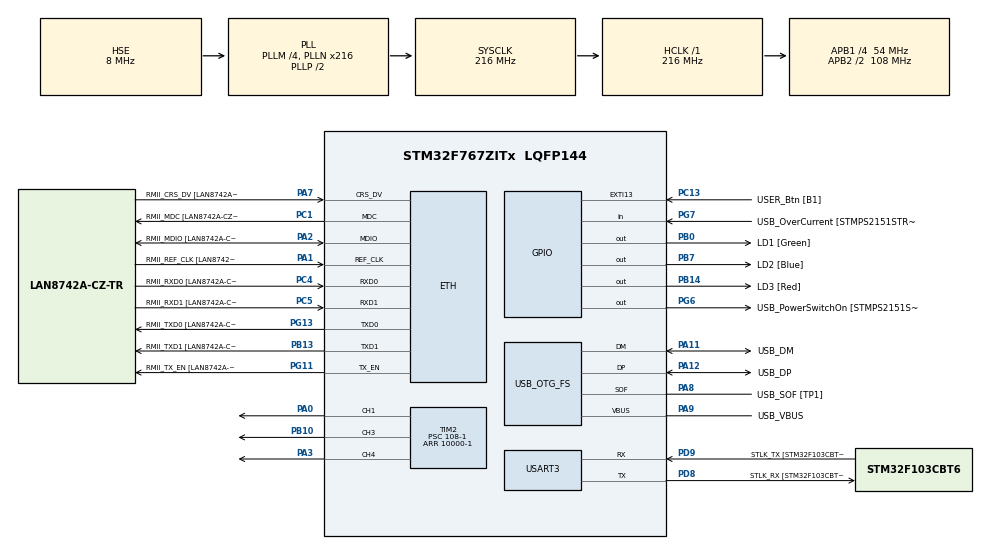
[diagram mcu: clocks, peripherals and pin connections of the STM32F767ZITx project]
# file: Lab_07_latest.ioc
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ETH.MediaInterface=HAL_ETH_RMII_MODE
ETH.PHY_Name=LAN8742A_PHY_ADDRESS
ETH.PHY_Value=0
ETH.PhyAddress=0
Mcu.Family=STM32F7
Mcu.Name=STM32F767ZITx
Mcu.Package=LQFP144
NVIC.PriorityGroup=NVIC_PRIORITYGROUP_4
PA0/WKUP.GPIO_Speed=GPIO_SPEED_FREQ_VERY_HIGH
PA0/WKUP.Signal=S_TIM2_CH1_ETR
PA1.GPIO_Label=RMII_REF_CLK [LAN8742A-CZ-TR_REFCLK0]
PA1.Mode=RMII
PA1.Signal=ETH_REF_CLK
PA10.GPIO_Label=USB_ID
PA10.Signal=USB_OTG_FS_ID
PA11.GPIO_Label=USB_DM
PA11.Mode=Device_Only
PA11.Signal=USB_OTG_FS_DM
PA12.GPIO_Label=USB_DP
PA12.Mode=Device_Only
PA12.Signal=USB_OTG_FS_DP
PA13.GPIO_Label=TMS
PA13.Mode=Serial_Wire
PA13.Signal=SYS_JTMS-SWDIO
PA14.GPIO_Label=TCK
PA14.Mode=Serial_Wire
PA14.Signal=SYS_JTCK-SWCLK
PA2.GPIO_Label=RMII_MDIO [LAN8742A-CZ-TR_MDIO]
PA2.Mode=RMII
PA2.Signal=ETH_MDIO
PA3.GPIO_Speed=GPIO_SPEED_FREQ_VERY_HIGH
PA3.Signal=S_TIM2_CH4
PA7.GPIO_Label=RMII_CRS_DV [LAN8742A-CZ-TR_CRS_DV]
PA7.Mode=RMII
PA7.Signal=ETH_CRS_DV
PA8.GPIO_Label=USB_SOF [TP1]
PA8.Mode=Activate_SOF_FS
PA8.Signal=USB_OTG_FS_SOF
PA9.GPIO_Label=USB_VBUS
PA9.Mode=Activate_VBUS
PA9.Signal=USB_OTG_FS_VBUS
PB0.GPIO_Label=LD1 [Green]
PB0.Signal=GPIO_Output
PB10.GPIO_Speed=GPIO_SPEED_FREQ_VERY_HIGH
PB10.Signal=S_TIM2_CH3
PB13.GPIO_Label=RMII_TXD1 [LAN8742A-CZ-TR_TXD1]
PB13.Mode=RMII
PB13.Signal=ETH_TXD1
PB14.GPIO_Label=LD3 [Red]
PB14.Signal=GPIO_Output
PB3.GPIO_Label=SWO
PB3.Signal=SYS_JTDO-SWO
PB7.GPIO_Label=LD2 [Blue]
PB7.Signal=GPIO_Output
PC1.GPIO_Label=RMII_MDC [LAN8742A-CZ-TR_MDC]
PC1.Mode=RMII
PC1.Signal=ETH_MDC
PC13.GPIO_Label=USER_Btn [B1]
PC13.Signal=GPXTI13
PC14/OSC32_IN.Mode=LSE-External-Oscillator
PC14/OSC32_IN.Signal=RCC_OSC32_IN
PC15/OSC32_OUT.Mode=LSE-External-Oscillator
PC15/OSC32_OUT.Signal=RCC_OSC32_OUT
PC4.GPIO_Label=RMII_RXD0 [LAN8742A-CZ-TR_RXD0]
PC4.Mode=RMII
PC4.Signal=ETH_RXD0
PC5.GPIO_Label=RMII_RXD1 [LAN8742A-CZ-TR_RXD1]
PC5.Mode=RMII
PC5.Signal=ETH_RXD1
PD8.GPIO_Label=STLK_RX [STM32F103CBT6_PA3]
PD8.Mode=Asynchronous
PD8.Signal=USART3_TX
PD9.GPIO_Label=STLK_TX [STM32F103CBT6_PA2]
PD9.Mode=Asynchronous
PD9.Signal=USART3_RX
PG11.GPIO_Label=RMII_TX_EN [LAN8742A-CZ-TR_TXEN]
PG11.Mode=RMII
PG11.Signal=ETH_TX_EN
PG13.GPIO_Label=RMII_TXD0 [LAN8742A-CZ-TR_TXD0]
PG13.Mode=RMII
PG13.Signal=ETH_TXD0
PG6.GPIO_Label=USB_PowerSwitchOn [STMPS2151STR_EN]
PG6.Signal=GPIO_Output
PG7.GPIO_Label=USB_OverCurrent [STMPS2151STR_FAULT]
PG7.Signal=GPIO_Input
PH0/OSC_IN.GPIO_Label=MCO [STM32F103CBT6_PA8]
PH0/OSC_IN.Mode=HSE-External-Clock-Source
PH0/OSC_IN.Signal=RCC_OSC_IN
PH1/OSC_OUT.Mode=HSE-External-Clock-Source
PH1/OSC_OUT.Signal=RCC_OSC_OUT
ProjectManager.HeapSize=0x200
ProjectManager.StackSize=0x400
ProjectManager.TargetToolchain=STM32CubeIDE
RCC.48MHZClocksFreq_Value=24000000
RCC.AHBFreq_Value=216000000
RCC.APB1CLKDivider=RCC_HCLK_DIV4
RCC.APB1Freq_Value=54000000
RCC.APB1TimFreq_Value=108000000
RCC.APB2CLKDivider=RCC_HCLK_DIV2
RCC.APB2Freq_Value=108000000
RCC.APB2TimFreq_Value=216000000
RCC.CortexFreq_Value=216000000
RCC.HCLKFreq_Value=216000000
RCC.HSE_VALUE=8000000
RCC.HSI_VALUE=16000000
RCC.PLLM=4
RCC.PLLMUL=RCC_PLL_MUL9
RCC.PLLN=216
RCC.PLLQ=9
RCC.PRESCALERUSB=RCC_USBCLKSOURCE_PLL_DIV1_5
RCC.SYSCLKFreq_VALUE=216000000
RCC.SYSCLKSource=RCC_SYSCLKSOURCE_PLLCLK
RCC.SYSCLKSourceVirtual=RCC_SYSCLKSOURCE_PLLCLK
RCC.USBFreq_Value=48000000
RCC.VCOOutputFreq_Value=432000000
SH.S_TIM2_CH1_ETR.0=TIM2_CH1,PWM Generation1 CH1
SH.S_TIM2_CH3.0=TIM2_CH3,PWM Generation3 CH3
SH.S_TIM2_CH4.0=TIM2_CH4,PWM Generation4 CH4
TIM2.Channel-PWM\ Generation1\ CH1=TIM_CHANNEL_1
TIM2.Channel-PWM\ Generation3\ CH3=TIM_CHANNEL_3
TIM2.Channel-PWM\ Generation4\ CH4=TIM_CHANNEL_4
TIM2.Period=10000-1
TIM2.Prescaler=108-1
TIM2.Pulse-PWM\ Generation1\ CH1=0
TIM2.Pulse-PWM\ Generation3\ CH3=10000/4-1
TIM2.Pulse-PWM\ Generation4\ CH4=0
USART3.VirtualMode-Asynchronous=VM_ASYNC
USB_OTG_FS.VirtualMode=Device_Only
VP_TIM2_VS_ClockSourceINT.Mode=Internal
board=NUCLEO-F767ZI

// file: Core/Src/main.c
/* USER CODE BEGIN Header */
/**
  ******************************************************************************
  * @file           : main.c
  * @brief          : Main program body
  ******************************************************************************
  * @attention
  *
  * Copyright (c) 2025 STMicroelectronics.
  * All rights reserved.
  *
  * This software is licensed under terms that can be found in the LICENSE file
  * in the root directory of this software component.
  * If no LICENSE file comes with this software, it is provided AS-IS.
  *
  ******************************************************************************
  */
/* USER CODE END Header */
#include "main.h"
#include "eth.h"
#include "tim.h"
#include "usart.h"
#include "usb_otg.h"
#include "gpio.h"

/* USER CODE BEGIN Includes */
#include "string.h"
#include "stdio.h"
/* USER CODE END Includes */

/* USER CODE BEGIN PV */
//uint8_t pwm;
uint8_t duty_red = 0;
uint8_t duty_green = 0;
uint8_t duty_blue = 0;

uint32_t pw_red = 0;
uint32_t pw_green = 0;
uint32_t pw_blue = 0;
char rx;

void update_pwm(void) {
    uint32_t ARR = __HAL_TIM_GET_AUTORELOAD(&htim2);

    __HAL_TIM_SET_COMPARE(&htim2, TIM_CHANNEL_1, (duty_red * ARR) / 100);
    __HAL_TIM_SET_COMPARE(&htim2, TIM_CHANNEL_3, (duty_green * ARR) / 100);
    __HAL_TIM_SET_COMPARE(&htim2, TIM_CHANNEL_4, (duty_blue * ARR) / 100);

    char msg[64];
    sprintf(msg, "Duty Cycle\r\nR : %d%% \r\nG : %d%% \r\nB : %d%% \r\n\n", duty_red, duty_green, duty_blue);
    HAL_UART_Transmit(&huart3, (uint8_t*)msg, strlen(msg), HAL_MAX_DELAY);
}
/* USER CODE END PV */

void SystemClock_Config(void);
/* USER CODE BEGIN PFP */
//void check_color(char color) {
//	if (color == 'r') {
//	  duty_red += 20;
//	  if (duty_red > 100) duty_red = 0;
//	}
//	else if (color == 'g'){
//	  duty_green += 20;
//	  if (duty_green > 100) duty_green = 0;
//	}
//	else if (color == 'b') {
//	  duty_blue += 20;
//	  if (duty_blue > 100) duty_blue = 0;
//	}
//}
/* USER CODE END PFP */

int main(void)
{

  /* MCU Configuration--------------------------------------------------------*/

  /* Reset of all peripherals, Initializes the Flash interface and the Systick. */
  HAL_Init();

  /* Configure the system clock */
  SystemClock_Config();

  /* Initialize all configured peripherals */
  MX_GPIO_Init();
  MX_ETH_Init();
  MX_USART3_UART_Init();
  MX_USB_OTG_FS_PCD_Init();
  MX_TIM2_Init();
  /* USER CODE BEGIN 2 */
  HAL_TIM_PWM_Start(&htim2, TIM_CHANNEL_1);
  HAL_TIM_PWM_Start(&htim2, TIM_CHANNEL_3);
  HAL_TIM_PWM_Start(&htim2, TIM_CHANNEL_4);
  update_pwm();

  /* USER CODE END 2 */

  /* Infinite loop */
  while (1)
  {

    /* USER CODE BEGIN 3 */

	    if(HAL_UART_Receive(&huart3, (uint8_t*)&rx, 1, 10) == HAL_OK)
	    {
	    	if(rx == 'r') { duty_red += 20; if(duty_red > 100) duty_red = 0; }
	    	if(rx == 'g') { duty_green += 20; if(duty_green > 100) duty_green = 0; }
	    	if(rx == 'b') { duty_blue += 20; if(duty_blue > 100) duty_blue = 0; }
	        update_pwm();
	    }

	    pw_red   = (GPIOA->IDR & GPIO_PIN_0);
	    pw_green = ((GPIOB->IDR & GPIO_PIN_10)  >> 10) ;
	    pw_blue  = ((GPIOA->IDR & GPIO_PIN_3) >> 3);
	    HAL_Delay(100);
  }
  /* USER CODE END 3 */
}

void SystemClock_Config(void)
{
  RCC_OscInitTypeDef RCC_OscInitStruct = {0};
  RCC_ClkInitTypeDef RCC_ClkInitStruct = {0};

  /** Configure LSE Drive Capability
  */
  HAL_PWR_EnableBkUpAccess();

  /** Configure the main internal regulator output voltage
  */
  __HAL_RCC_PWR_CLK_ENABLE();
  __HAL_PWR_VOLTAGESCALING_CONFIG(PWR_REGULATOR_VOLTAGE_SCALE1);

  /** Initializes the RCC Oscillators according to the specified parameters
  * in the RCC_OscInitTypeDef structure.
  */
  RCC_OscInitStruct.OscillatorType = RCC_OSCILLATORTYPE_HSE;
  RCC_OscInitStruct.HSEState = RCC_HSE_BYPASS;
  RCC_OscInitStruct.PLL.PLLState = RCC_PLL_ON;
  RCC_OscInitStruct.PLL.PLLSource = RCC_PLLSOURCE_HSE;
  RCC_OscInitStruct.PLL.PLLM = 4;
  RCC_OscInitStruct.PLL.PLLN = 216;
  RCC_OscInitStruct.PLL.PLLP = RCC_PLLP_DIV2;
  RCC_OscInitStruct.PLL.PLLQ = 9;
  RCC_OscInitStruct.PLL.PLLR = 2;
  if (HAL_RCC_OscConfig(&RCC_OscInitStruct) != HAL_OK)
  {
    Error_Handler();
  }

  /** Activate the Over-Drive mode
  */
  if (HAL_PWREx_EnableOverDrive() != HAL_OK)
  {
    Error_Handler();
  }

  /** Initializes the CPU, AHB and APB buses clocks
  */
  RCC_ClkInitStruct.ClockType = RCC_CLOCKTYPE_HCLK|RCC_CLOCKTYPE_SYSCLK
                              |RCC_CLOCKTYPE_PCLK1|RCC_CLOCKTYPE_PCLK2;
  RCC_ClkInitStruct.SYSCLKSource = RCC_SYSCLKSOURCE_PLLCLK;
  RCC_ClkInitStruct.AHBCLKDivider = RCC_SYSCLK_DIV1;
  RCC_ClkInitStruct.APB1CLKDivider = RCC_HCLK_DIV4;
  RCC_ClkInitStruct.APB2CLKDivider = RCC_HCLK_DIV2;

  if (HAL_RCC_ClockConfig(&RCC_ClkInitStruct, FLASH_LATENCY_7) != HAL_OK)
  {
    Error_Handler();
  }
}

void Error_Handler(void)
{
  __disable_irq();
  while (1)
  {
  }
}
